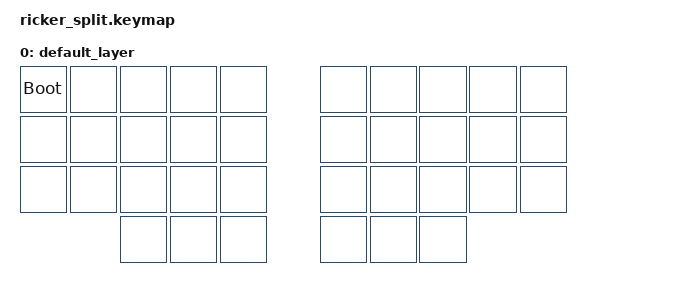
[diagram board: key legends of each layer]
#include <behaviors.dtsi>
#include <dt-bindings/zmk/keys.h>


/ {  
    keymap {
        compatible = "zmk,keymap";

        default_layer {
            bindings = <
                &bootloader &none &none &none &none &none &none &none &none &none 
                &none &none &none &none &none &none &none &none &none &none 
                &none &none &none &none &none &none &none &none &none &none 
                            &none &none &none &none &none &none 
            >;
        };
    };
};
